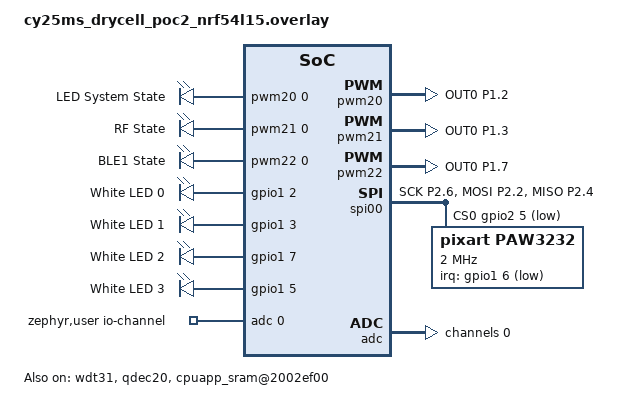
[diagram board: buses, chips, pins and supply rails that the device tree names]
/*
 * Copyright (c) 2024 Nordic Semiconductor ASA
 *
 * SPDX-License-Identifier: LicenseRef-Nordic-5-Clause
 */

/* For nRF54L, watchdog status is disabled by default. Needs to be enabled in DTS overlay. */
&wdt31 {
	status = "okay";
};

/* Application does not use cpuflpr core. Assign whole RRAM to cpuapp. */
&cpuapp_rram {
	reg = < 0x0 DT_SIZE_K(1524) >;
};

/ {
	/* Disable pwmleds and redefine them to align configuration with CAF LEDs requirements.
	 * The configuration needs to match the used board revision.
	 */
	/delete-node/ pwmleds;

	pwmleds0 {
		compatible = "pwm-leds";
		status = "okay";

		pwm_led0: led_pwm_0 {
			status = "okay";
			pwms = <&pwm20 0 PWM_MSEC(20) PWM_POLARITY_NORMAL>;
			label = "LED System State";
		};
	};

	pwmleds1 {
		compatible = "pwm-leds";
		status = "okay";

		pwm_led1: led_pwm_1 {
			status = "okay";
			pwms = <&pwm21 0 PWM_MSEC(20) PWM_POLARITY_NORMAL>;
			label = "RF State";
		};
	};

	pwmleds2 {
		compatible = "pwm-leds";
		status = "okay";

		pwm_led2: led_pwm_2 {
			status = "okay";
			pwms = <&pwm22 0 PWM_MSEC(20) PWM_POLARITY_NORMAL>;
			label = "BLE1 State";
		};
	};
};

&pwm20 {
	status = "okay";
	pinctrl-0 = <&pwm20_default_alt>;
	pinctrl-1 = <&pwm20_sleep_alt>;
	pinctrl-names = "default", "sleep";
};

&pwm21 {
	status = "okay";
	pinctrl-0 = <&pwm21_default_alt>;
	pinctrl-1 = <&pwm21_sleep_alt>;
	pinctrl-names = "default", "sleep";
};

&pwm22 {
	status = "okay";
	pinctrl-0 = <&pwm22_default_alt>;
	pinctrl-1 = <&pwm22_sleep_alt>;
	pinctrl-names = "default", "sleep";
};

&pinctrl {
	pwm20_default_alt: pwm20_default_alt {
		group1 {
			psels = <NRF_PSEL(PWM_OUT0, 1, 2)>;
		};
	};

	pwm20_sleep_alt: pwm20_sleep_alt {
		group1 {
			psels = <NRF_PSEL(PWM_OUT0, 1, 2)>;
			low-power-enable;
		};
	};

	pwm21_default_alt: pwm21_default_alt {
		group1 {
			psels = <NRF_PSEL(PWM_OUT0, 1, 3)>;
		};
	};

	pwm21_sleep_alt: pwm21_sleep_alt {
		group1 {
			psels = <NRF_PSEL(PWM_OUT0, 1, 3)>;
			low-power-enable;
		};
	};

	pwm22_default_alt: pwm22_default_alt {
		group1 {
			psels = <NRF_PSEL(PWM_OUT0, 1, 7)>;
		};
	};

	pwm22_sleep_alt: pwm22_sleep_alt {
		group1 {
			psels = <NRF_PSEL(PWM_OUT0, 1, 7)>;
			low-power-enable;
		};
	};
};


/ {
	/* Disable leds and redefine them to align configuration with CAF LEDs requirements.
	 * The configuration needs to match the used board revision (v0.3.0).
	 */
	leds {
		status = "disabled";
	};
	/delete-node/ leds;
	leds0 {
		compatible = "gpio-leds";
		status = "okay";
		label = "System State LED";

		led0: led_0 {
			gpios = < &gpio1 2 GPIO_ACTIVE_HIGH >; //pwr led
			label = "White LED 0";
		};
	};

	leds1 {
		compatible = "gpio-leds";
                status = "okay";
                label = "RF LED";

		led1: led_1 {
			gpios = < &gpio1 3 GPIO_ACTIVE_HIGH >; //rf led
			label = "White LED 1";
		};
	};

        leds2 {
		compatible = "gpio-leds";
		status = "okay";
		label = "BT1 LED";

		led2: led_2 {
			gpios = < &gpio1 7 GPIO_ACTIVE_HIGH >; //bt1 led
			label = "White LED 2";
		};
	};

	leds3 {
		compatible = "gpio-leds";
		status = "okay";
		label = "BT2 LED";

                led3: led_3 {
			gpios = < &gpio1 5 GPIO_ACTIVE_HIGH >; //bt2 led
			label = "White LED 3";
		};
	};

	/delete-node/ buttons;
	/delete-node/ aliases;
	/delete-node/ gpioled0;
	/delete-node/ gpioled1;
	/delete-node/ gpioled2;
	/delete-node/ gpioled3;
};

&uart20 {
	status = "disabled";
};

&spi00 {
	status = "okay";
	cs-gpios = <&gpio2 5 GPIO_ACTIVE_LOW>;
	pinctrl-0 = <&spi00_default>;
	pinctrl-1 = <&spi00_sleep>;
	pinctrl-names = "default", "sleep";
	paw3232@0 {
	 compatible = "pixart,paw3232";
	 reg = <0>;
	 irq-gpios = <&gpio1 6 (GPIO_ACTIVE_LOW | GPIO_PULL_UP)>;
	 spi-max-frequency = <2000000>;
	};
};
&pinctrl {
	spi00_default: spi00_default {
		group1 {
				psels = <NRF_PSEL(SPIM_SCK, 2, 6)>,
						<NRF_PSEL(SPIM_MOSI, 2, 2)>,
						<NRF_PSEL(SPIM_MISO, 2, 4)>;
						//low-power-enable;
		};
	};

	spi00_sleep: spi00_sleep {
		group1 {
				psels = <NRF_PSEL(SPIM_SCK, 2, 6)>,
						<NRF_PSEL(SPIM_MOSI, 2, 2)>,
						<NRF_PSEL(SPIM_MISO, 2, 4)>;
						low-power-enable;
		};
	};
};


&qdec20 {
	status = "okay";
	enable-pin = <73>;
	led-pre = <0>;
	steps = <24>;
	pinctrl-0 = <&qdec_default>;
	pinctrl-1 = <&qdec_sleep>;
	pinctrl-names = "default", "sleep";
};
&pinctrl {
	qdec_default: qdec_default {
		group1 {
			psels = <NRF_PSEL(QDEC_A, 1, 0)>,
				<NRF_PSEL(QDEC_B, 1, 1)>;
		};
	};

	qdec_sleep: qdec_sleep {
		group1 {
			psels = <NRF_PSEL(QDEC_A, 1, 0)>,
				<NRF_PSEL(QDEC_B, 1, 1)>;
			low-power-enable;
		};
	};
};
&uicr {
    nfct-pins-as-gpios;
};
&hfxo {
	load-capacitors = "internal";
	load-capacitance-femtofarad = <12000>;
};

/ {
	zephyr,user {
		io-channels = <&adc 0>;
	};
};

&adc {
	#address-cells = <1>;
	#size-cells = <0>;

	channel@0 {
		reg = <0>;
		zephyr,gain = "ADC_GAIN_1_2";
		zephyr,reference = "ADC_REF_INTERNAL";
		zephyr,acquisition-time = <ADC_ACQ_TIME_DEFAULT>;
		zephyr,input-positive = <NRF_SAADC_AIN4>;
		zephyr,resolution = <12>;
	};
};

&hfxo {
	load-capacitors = "internal";
	load-capacitance-femtofarad = <12000>;
/*	load-capacitance-femtofarad = <8000>;
	load-capacitance-femtofarad = <12000>;
	load-capacitance-femtofarad = <14000>;
	load-capacitance-femtofarad = <15000>;
	load-capacitance-femtofarad = <16000>;
*/
};

/delete-node/ &lfxo;

/ {
	cpuapp_sram@2002ef00 {
		compatible = "zephyr,memory-region", "mmio-sram";
		reg = <0x2002ef00 0x100>;
		zephyr,memory-region = "RetainedMem";
		status = "okay";

		retainedmem0: retainedmem {
			compatible = "zephyr,retained-ram";
			status = "okay";
		};
	};

	aliases {
		retainedmemdevice0 = &retainedmem0;
	};
};

&cpuapp_sram {
	reg = <0x20000000 0x2ef00>;
	ranges = <0x0 0x20000000 0x2ef00>;
};

